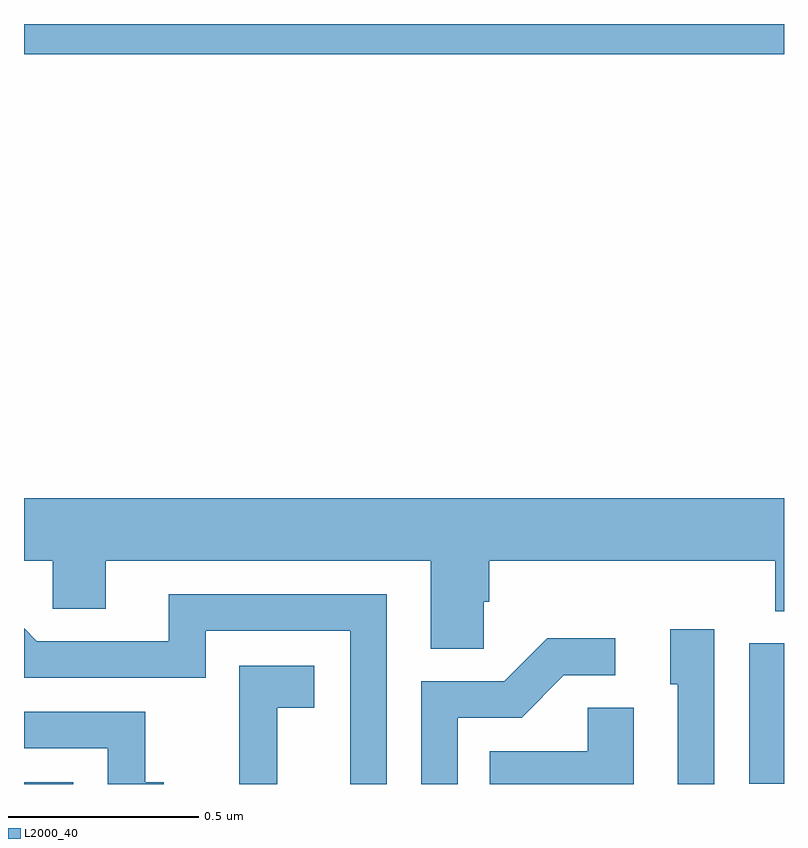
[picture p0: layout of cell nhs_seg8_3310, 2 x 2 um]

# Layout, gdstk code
import gdstk
lib = gdstk.Library(unit=1e-6, precision=1e-09)
def R(c, l, rs):  # rectangles x0, y0, x1, y1
    for r in rs: c.add(gdstk.rectangle(r[:2], r[2:], *l))
def P(c, l, *ps):  # polygons
    for p in ps: c.add(gdstk.Polygon(p, *l))
L2000_40 = (2000, 40)

nhs_seg8_3310 = lib.new_cell('nhs_seg8_3310')
R(nhs_seg8_3310, L2000_40, [(155,1127.9,155.13,1127.904), (156.909,1127.901,157,1128.27), (155,1129.82,157,1129.9)])
P(nhs_seg8_3310, L2000_40, [(156.21,1128.379),(156.224,1128.379),(156.224,1128.488),(156.977,1128.488),(156.977,1128.355),(157,1128.355),(157,1128.652),(155,1128.652),(155,1128.488),(155.076,1128.488),(155.076,1128.361),(155.215,1128.361),(155.215,1128.488),(156.071,1128.488),(156.071,1128.256),(156.21,1128.256)],
  [(155.955,1128.399),(155.381,1128.399),(155.381,1128.276),(155.034,1128.276),(155,1128.31),(155,1128.18),(155.478,1128.18),(155.478,1128.303),(155.859,1128.303),(155.859,1127.9),(155.955,1127.9)],
  [(156.816,1128.307),(156.701,1128.307),(156.701,1128.162),(156.72,1128.162),(156.72,1127.9),(156.816,1127.9)],
  [(156.141,1128.075),(156.31,1128.075),(156.421,1128.186),(156.556,1128.186),(156.556,1128.284),(156.377,1128.284),(156.264,1128.171),(156.045,1128.171),(156.045,1127.9),(156.141,1127.9)],
  [(155.666,1128.101),(155.764,1128.101),(155.764,1128.211),(155.566,1128.211),(155.566,1128.005),(155.567,1128.005),(155.567,1127.9),(155.666,1127.9)],
  [(156.604,1128.101),(156.483,1128.101),(156.483,1127.986),(156.226,1127.986),(156.226,1127.9),(156.604,1127.9)],
  [(155.368,1127.905),(155.319,1127.905),(155.319,1128.09),(155,1128.09),(155,1127.994),(155.22,1127.994),(155.22,1127.9),(155.368,1127.9)])

lib.write_gds('nhs_seg8_3310.gds')
